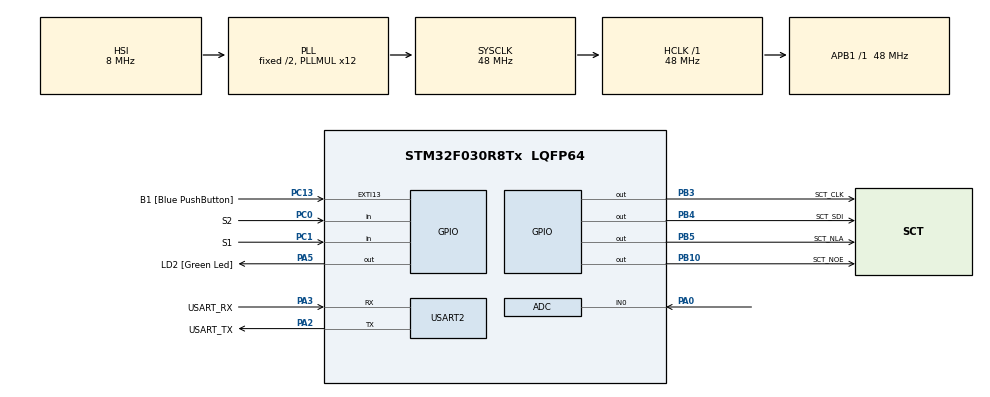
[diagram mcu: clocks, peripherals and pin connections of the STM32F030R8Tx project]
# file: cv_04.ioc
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ADC.ContinuousConvMode=ENABLE
ADC.Overrun=ADC_OVR_DATA_OVERWRITTEN
ADC.SamplingTime=ADC_SAMPLETIME_239CYCLES_5
Mcu.Family=STM32F0
Mcu.Name=STM32F030R8Tx
Mcu.Package=LQFP64
NVIC.ADC1_IRQn=true\:0\:0\:false\:false\:true\:true\:true
PA0.Mode=IN0
PA0.Signal=ADC_IN0
PA13.GPIO_Label=TMS
PA13.Mode=Serial_Wire
PA13.Signal=SYS_SWDIO
PA14.GPIO_Label=TCK
PA14.Mode=Serial_Wire
PA14.Signal=SYS_SWCLK
PA2.GPIO_Label=USART_TX
PA2.GPIO_Mode=GPIO_MODE_AF_PP
PA2.GPIO_PuPd=GPIO_NOPULL
PA2.GPIO_Speed=GPIO_SPEED_FREQ_LOW
PA2.Mode=Asynchronous
PA2.Signal=USART2_TX
PA3.GPIO_Label=USART_RX
PA3.GPIO_Mode=GPIO_MODE_AF_PP
PA3.GPIO_PuPd=GPIO_NOPULL
PA3.GPIO_Speed=GPIO_SPEED_FREQ_LOW
PA3.Mode=Asynchronous
PA3.Signal=USART2_RX
PA5.GPIO_Label=LD2 [Green Led]
PA5.GPIO_Mode=GPIO_MODE_OUTPUT_PP
PA5.GPIO_PuPd=GPIO_NOPULL
PA5.GPIO_Speed=GPIO_SPEED_FREQ_LOW
PA5.Signal=GPIO_Output
PB10.GPIO_Label=SCT_NOE
PB10.Signal=GPIO_Output
PB3.GPIO_Label=SCT_CLK
PB3.Signal=GPIO_Output
PB4.GPIO_Label=SCT_SDI
PB4.Signal=GPIO_Output
PB5.GPIO_Label=SCT_NLA
PB5.Signal=GPIO_Output
PC0.GPIO_Label=S2
PC0.GPIO_PuPd=GPIO_PULLUP
PC0.Signal=GPIO_Input
PC1.GPIO_Label=S1
PC1.GPIO_PuPd=GPIO_PULLUP
PC1.Signal=GPIO_Input
PC13.GPIO_Label=B1 [Blue PushButton]
PC13.GPIO_ModeDefaultEXTI=GPIO_MODE_IT_FALLING
PC13.Signal=GPXTI13
PC14-OSC32_IN.Mode=LSE-External-Oscillator
PC14-OSC32_IN.Signal=RCC_OSC32_IN
PC15-OSC32_OUT.Mode=LSE-External-Oscillator
PC15-OSC32_OUT.Signal=RCC_OSC32_OUT
PF0-OSC_IN.Mode=HSE-External-Clock-Source
PF0-OSC_IN.Signal=RCC_OSC_IN
PF1-OSC_OUT.Signal=RCC_OSC_OUT
ProjectManager.HeapSize=0x200
ProjectManager.StackSize=0x400
ProjectManager.TargetToolchain=STM32CubeIDE
RCC.AHBFreq_Value=48000000
RCC.APB1Freq_Value=48000000
RCC.APB1TimFreq_Value=48000000
RCC.HCLKFreq_Value=48000000
RCC.PLLMUL=RCC_PLL_MUL12
RCC.SYSCLKFreq_VALUE=48000000
RCC.SYSCLKSource=RCC_SYSCLKSOURCE_PLLCLK
USART2.VirtualMode-Asynchronous=VM_ASYNC
VP_ADC_TempSens_Input.Mode=IN-TempSens
VP_ADC_Vref_Input.Mode=IN-Vrefint
board=NUCLEO-F030R8

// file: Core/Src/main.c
/* USER CODE BEGIN Header */
/**
  ******************************************************************************
  * @file           : main.c
  * @brief          : Main program body
  ******************************************************************************
  * @attention
  *
  * <h2><center>&copy; Copyright (c) 2021 STMicroelectronics.
  * All rights reserved.</center></h2>
  *
  * This software component is licensed by ST under BSD 3-Clause license,
  * the "License"; You may not use this file except in compliance with the
  * License. You may obtain a copy of the License at:
  *                        opensource.org/licenses/BSD-3-Clause
  *
  ******************************************************************************
  */
/* USER CODE END Header */
#include "main.h"

/* USER CODE BEGIN Includes */
#include "sct.h"
/* USER CODE END Includes */

/* USER CODE BEGIN PD */
/* Temperature sensor calibration value address */
#define TEMP110_CAL_ADDR ((uint16_t*) ((uint32_t) 0x1FFFF7C2))
#define TEMP30_CAL_ADDR ((uint16_t*) ((uint32_t) 0x1FFFF7B8))
/* Internal voltage reference calibration value address */
#define VREFINT_CAL_ADDR ((uint16_t*) ((uint32_t) 0x1FFFF7BA))
/* USER CODE END PD */

ADC_HandleTypeDef hadc;

UART_HandleTypeDef huart2;

void SystemClock_Config(void);
static void MX_GPIO_Init(void);
static void MX_USART2_UART_Init(void);
static void MX_ADC_Init(void);

/* USER CODE BEGIN 0 */
static volatile uint32_t raw_pot;
static volatile uint32_t raw_temp;
static volatile uint32_t raw_volt;
void HAL_ADC_ConvCpltCallback(ADC_HandleTypeDef* hadc)
{
	static uint8_t channel;

	if (channel==0){
		static uint32_t avg_pot;
		raw_pot = avg_pot >> 14;
		avg_pot -= raw_pot;
		avg_pot += HAL_ADC_GetValue(hadc);

	} else if (channel==1) {

		raw_temp = HAL_ADC_GetValue(hadc);

	} else if (channel==2){

		raw_volt = HAL_ADC_GetValue(hadc);

	}

	if (__HAL_ADC_GET_FLAG(hadc, ADC_FLAG_EOS)) channel = 0;
	else channel++;

}
/* USER CODE END 0 */

int main(void)
{

  /* MCU Configuration--------------------------------------------------------*/

  /* Reset of all peripherals, Initializes the Flash interface and the Systick. */
  HAL_Init();

  /* Configure the system clock */
  SystemClock_Config();

  /* Initialize all configured peripherals */
  MX_GPIO_Init();
  MX_USART2_UART_Init();
  MX_ADC_Init();
  /* USER CODE BEGIN 2 */
  HAL_ADCEx_Calibration_Start(&hadc);
  HAL_ADC_Start_IT(&hadc);

  /* USER CODE END 2 */

  /* Infinite loop */
  while (1)
  {
	  /* USER CODE BEGIN 3 */

	  static enum { SHOW_POT, SHOW_VOLT, SHOW_TEMP } state = SHOW_POT;
	  static uint32_t tick;
	  if (HAL_GPIO_ReadPin(S1_GPIO_Port, S1_Pin)==0)
	  {
		  tick = HAL_GetTick();
		  state = SHOW_TEMP;

	  } else if(HAL_GPIO_ReadPin(S2_GPIO_Port, S2_Pin)==0)
	  {
		  tick = HAL_GetTick();
		  state = SHOW_VOLT;
	  }

	  if (HAL_GetTick() >= tick+1000)
	  {
		  state = SHOW_POT;
	  }

	  if (state == SHOW_POT)
	  {
		  sct_value(raw_pot*(500+1)/4096, raw_pot*(8+1)/4096);
	  } else if (state == SHOW_TEMP)
	  {
		  int32_t temperature = (raw_temp - (int32_t)(*TEMP30_CAL_ADDR));
		  temperature = temperature * (int32_t)(110 - 30);
		  temperature = temperature / (int32_t)(*TEMP110_CAL_ADDR - *TEMP30_CAL_ADDR);
		  temperature = temperature + 30;
		   sct_value(temperature, 0);
	  }
	  else if (state == SHOW_VOLT)
	  {
		  uint32_t voltage = 330 * (*VREFINT_CAL_ADDR) / raw_volt;
		  sct_value(voltage, 0);
	  }
	  HAL_Delay(50);
  }
  /* USER CODE END 3 */
}

void SystemClock_Config(void)
{
  RCC_OscInitTypeDef RCC_OscInitStruct = {0};
  RCC_ClkInitTypeDef RCC_ClkInitStruct = {0};

  /** Initializes the RCC Oscillators according to the specified parameters
  * in the RCC_OscInitTypeDef structure.
  */
  RCC_OscInitStruct.OscillatorType = RCC_OSCILLATORTYPE_HSI|RCC_OSCILLATORTYPE_HSI14;
  RCC_OscInitStruct.HSIState = RCC_HSI_ON;
  RCC_OscInitStruct.HSI14State = RCC_HSI14_ON;
  RCC_OscInitStruct.HSICalibrationValue = RCC_HSICALIBRATION_DEFAULT;
  RCC_OscInitStruct.HSI14CalibrationValue = 16;
  RCC_OscInitStruct.PLL.PLLState = RCC_PLL_ON;
  RCC_OscInitStruct.PLL.PLLSource = RCC_PLLSOURCE_HSI;
  RCC_OscInitStruct.PLL.PLLMUL = RCC_PLL_MUL12;
  RCC_OscInitStruct.PLL.PREDIV = RCC_PREDIV_DIV1;
  if (HAL_RCC_OscConfig(&RCC_OscInitStruct) != HAL_OK)
  {
    Error_Handler();
  }
  /** Initializes the CPU, AHB and APB buses clocks
  */
  RCC_ClkInitStruct.ClockType = RCC_CLOCKTYPE_HCLK|RCC_CLOCKTYPE_SYSCLK
                              |RCC_CLOCKTYPE_PCLK1;
  RCC_ClkInitStruct.SYSCLKSource = RCC_SYSCLKSOURCE_PLLCLK;
  RCC_ClkInitStruct.AHBCLKDivider = RCC_SYSCLK_DIV1;
  RCC_ClkInitStruct.APB1CLKDivider = RCC_HCLK_DIV1;

  if (HAL_RCC_ClockConfig(&RCC_ClkInitStruct, FLASH_LATENCY_1) != HAL_OK)
  {
    Error_Handler();
  }
}

static void MX_ADC_Init(void)
{

  ADC_ChannelConfTypeDef sConfig = {0};

  /** Configure the global features of the ADC (Clock, Resolution, Data Alignment and number of conversion)
  */
  hadc.Instance = ADC1;
  hadc.Init.ClockPrescaler = ADC_CLOCK_ASYNC_DIV1;
  hadc.Init.Resolution = ADC_RESOLUTION_12B;
  hadc.Init.DataAlign = ADC_DATAALIGN_RIGHT;
  hadc.Init.ScanConvMode = ADC_SCAN_DIRECTION_FORWARD;
  hadc.Init.EOCSelection = ADC_EOC_SINGLE_CONV;
  hadc.Init.LowPowerAutoWait = DISABLE;
  hadc.Init.LowPowerAutoPowerOff = DISABLE;
  hadc.Init.ContinuousConvMode = ENABLE;
  hadc.Init.DiscontinuousConvMode = DISABLE;
  hadc.Init.ExternalTrigConv = ADC_SOFTWARE_START;
  hadc.Init.ExternalTrigConvEdge = ADC_EXTERNALTRIGCONVEDGE_NONE;
  hadc.Init.DMAContinuousRequests = DISABLE;
  hadc.Init.Overrun = ADC_OVR_DATA_OVERWRITTEN;
  if (HAL_ADC_Init(&hadc) != HAL_OK)
  {
    Error_Handler();
  }
  /** Configure for the selected ADC regular channel to be converted.
  */
  sConfig.Channel = ADC_CHANNEL_0;
  sConfig.Rank = ADC_RANK_CHANNEL_NUMBER;
  sConfig.SamplingTime = ADC_SAMPLETIME_239CYCLES_5;
  if (HAL_ADC_ConfigChannel(&hadc, &sConfig) != HAL_OK)
  {
    Error_Handler();
  }
  /** Configure for the selected ADC regular channel to be converted.
  */
  sConfig.Channel = ADC_CHANNEL_TEMPSENSOR;
  if (HAL_ADC_ConfigChannel(&hadc, &sConfig) != HAL_OK)
  {
    Error_Handler();
  }
  /** Configure for the selected ADC regular channel to be converted.
  */
  sConfig.Channel = ADC_CHANNEL_VREFINT;
  if (HAL_ADC_ConfigChannel(&hadc, &sConfig) != HAL_OK)
  {
    Error_Handler();
  }

}

static void MX_USART2_UART_Init(void)
{

  huart2.Instance = USART2;
  huart2.Init.BaudRate = 38400;
  huart2.Init.WordLength = UART_WORDLENGTH_8B;
  huart2.Init.StopBits = UART_STOPBITS_1;
  huart2.Init.Parity = UART_PARITY_NONE;
  huart2.Init.Mode = UART_MODE_TX_RX;
  huart2.Init.HwFlowCtl = UART_HWCONTROL_NONE;
  huart2.Init.OverSampling = UART_OVERSAMPLING_16;
  huart2.Init.OneBitSampling = UART_ONE_BIT_SAMPLE_DISABLE;
  huart2.AdvancedInit.AdvFeatureInit = UART_ADVFEATURE_NO_INIT;
  if (HAL_UART_Init(&huart2) != HAL_OK)
  {
    Error_Handler();
  }

}

static void MX_GPIO_Init(void)
{
  GPIO_InitTypeDef GPIO_InitStruct = {0};

  /* GPIO Ports Clock Enable */
  __HAL_RCC_GPIOC_CLK_ENABLE();
  __HAL_RCC_GPIOF_CLK_ENABLE();
  __HAL_RCC_GPIOA_CLK_ENABLE();
  __HAL_RCC_GPIOB_CLK_ENABLE();

  /*Configure GPIO pin Output Level */
  HAL_GPIO_WritePin(LD2_GPIO_Port, LD2_Pin, GPIO_PIN_RESET);

  /*Configure GPIO pin Output Level */
  HAL_GPIO_WritePin(GPIOB, SCT_NOE_Pin|SCT_CLK_Pin|SCT_SDI_Pin|SCT_NLA_Pin, GPIO_PIN_RESET);

  /*Configure GPIO pin : B1_Pin */
  GPIO_InitStruct.Pin = B1_Pin;
  GPIO_InitStruct.Mode = GPIO_MODE_IT_FALLING;
  GPIO_InitStruct.Pull = GPIO_NOPULL;
  HAL_GPIO_Init(B1_GPIO_Port, &GPIO_InitStruct);

  /*Configure GPIO pins : S2_Pin S1_Pin */
  GPIO_InitStruct.Pin = S2_Pin|S1_Pin;
  GPIO_InitStruct.Mode = GPIO_MODE_INPUT;
  GPIO_InitStruct.Pull = GPIO_PULLUP;
  HAL_GPIO_Init(GPIOC, &GPIO_InitStruct);

  /*Configure GPIO pin : LD2_Pin */
  GPIO_InitStruct.Pin = LD2_Pin;
  GPIO_InitStruct.Mode = GPIO_MODE_OUTPUT_PP;
  GPIO_InitStruct.Pull = GPIO_NOPULL;
  GPIO_InitStruct.Speed = GPIO_SPEED_FREQ_LOW;
  HAL_GPIO_Init(LD2_GPIO_Port, &GPIO_InitStruct);

  /*Configure GPIO pins : SCT_NOE_Pin SCT_CLK_Pin SCT_SDI_Pin SCT_NLA_Pin */
  GPIO_InitStruct.Pin = SCT_NOE_Pin|SCT_CLK_Pin|SCT_SDI_Pin|SCT_NLA_Pin;
  GPIO_InitStruct.Mode = GPIO_MODE_OUTPUT_PP;
  GPIO_InitStruct.Pull = GPIO_NOPULL;
  GPIO_InitStruct.Speed = GPIO_SPEED_FREQ_LOW;
  HAL_GPIO_Init(GPIOB, &GPIO_InitStruct);

}

void Error_Handler(void)
{
  __disable_irq();
  while (1)
  {
  }
}

/************************ (C) COPYRIGHT STMicroelectronics *****END OF FILE****/
